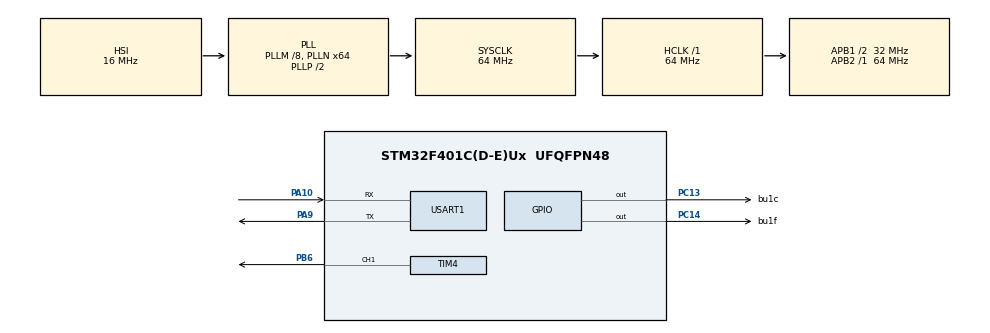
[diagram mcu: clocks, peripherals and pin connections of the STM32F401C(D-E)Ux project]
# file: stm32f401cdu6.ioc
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Mcu.Family=STM32F4
Mcu.Name=STM32F401C(D-E)Ux
Mcu.Package=UFQFPN48
NVIC.PriorityGroup=NVIC_PRIORITYGROUP_4
NVIC.TIM4_IRQn=true\:0\:0\:false\:false\:false\:true\:true\:true
NVIC.USART1_IRQn=true\:0\:0\:false\:false\:false\:true\:true\:true
PA10.Mode=Asynchronous
PA10.Signal=USART1_RX
PA13.Mode=Serial_Wire
PA13.Signal=SYS_JTMS-SWDIO
PA14.Mode=Serial_Wire
PA14.Signal=SYS_JTCK-SWCLK
PA9.Mode=Asynchronous
PA9.Signal=USART1_TX
PB6.Signal=S_TIM4_CH1
PC13-ANTI_TAMP.GPIO_Label=bu1c
PC13-ANTI_TAMP.Signal=GPIO_Output
PC14-OSC32_IN.GPIO_Label=bu1f
PC14-OSC32_IN.Signal=GPIO_Output
ProjectManager.HeapSize=0x200
ProjectManager.StackSize=0x400
ProjectManager.TargetToolchain=STM32CubeIDE
RCC.48MHZClocksFreq_Value=32000000
RCC.AHBFreq_Value=64000000
RCC.APB1CLKDivider=RCC_HCLK_DIV2
RCC.APB1Freq_Value=32000000
RCC.APB1TimFreq_Value=64000000
RCC.APB2Freq_Value=64000000
RCC.APB2TimFreq_Value=64000000
RCC.CortexFreq_Value=64000000
RCC.HCLKFreq_Value=64000000
RCC.HSE_VALUE=25000000
RCC.HSI_VALUE=16000000
RCC.LSE_VALUE=32768
RCC.PLLM=8
RCC.PLLN=64
RCC.SYSCLKFreq_VALUE=64000000
RCC.SYSCLKSource=RCC_SYSCLKSOURCE_PLLCLK
RCC.VCOOutputFreq_Value=128000000
SH.S_TIM4_CH1.0=TIM4_CH1,PWM Generation1 CH1
TIM4.Channel-PWM\ Generation1\ CH1=TIM_CHANNEL_1
TIM4.Period=50000
TIM4.Prescaler=1
TIM4.Pulse-PWM\ Generation1\ CH1=0
USART1.VirtualMode=VM_ASYNC
VP_TIM4_VS_ClockSourceINT.Mode=Internal
board=custom

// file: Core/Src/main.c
/* USER CODE BEGIN Header */
/**
  ******************************************************************************
  * @file           : main.c
  * @brief          : Main program body
  ******************************************************************************
  * @attention
  *
  * Copyright (c) 2023 STMicroelectronics.
  * All rights reserved.
  *
  * This software is licensed under terms that can be found in the LICENSE file
  * in the root directory of this software component.
  * If no LICENSE file comes with this software, it is provided AS-IS.
  *
  ******************************************************************************
  */
/* USER CODE END Header */
#include "main.h"

/* USER CODE BEGIN Includes */
#include "achuankou.h"
#include "abujindianjipwm.h"
extern bujinpwm dianji[4];
extern uint16_t jiasuliebiao[31005] ;
uint32_t jici = 0;
/* USER CODE END Includes */

TIM_HandleTypeDef htim4;

UART_HandleTypeDef huart1;

void SystemClock_Config(void);
static void MX_GPIO_Init(void);
static void MX_TIM4_Init(void);
static void MX_USART1_UART_Init(void);

/* USER CODE BEGIN 0 */

void TIM4_IRQHandler(void)
{
  /* USER CODE BEGIN TIM4_IRQn 0 */
	pwmzhongduankongzhi();
  /* USER CODE END TIM4_IRQn 0 */
	//HAL_GPIO_TogglePin(bu1c_GPIO_Port, bu1c_Pin);
  HAL_TIM_IRQHandler(&htim4);
  /* USER CODE BEGIN TIM4_IRQn 1 */

  /* USER CODE END TIM4_IRQn 1 */
}
/* USER CODE END 0 */

int main(void)
{

  /* MCU Configuration--------------------------------------------------------*/

  /* Reset of all peripherals, Initializes the Flash interface and the Systick. */
  HAL_Init();

  /* Configure the system clock */
  SystemClock_Config();

  /* Initialize all configured peripherals */
  MX_GPIO_Init();
  MX_TIM4_Init();
  MX_USART1_UART_Init();

  /* Infinite loop */
  /* USER CODE BEGIN WHILE */
 // HAL_TIM_Base_Start_DMA(TIM_HandleTypeDef *htim, uint32_t *pData, uint16_t Length);
  //HAL_TIM_PWM_Start_DMA(TIM_HandleTypeDef *htim, uint32_t Channel, uint32_t *pData, uint16_t Length);
  HAL_TIM_PWM_Start(&htim4,TIM_CHANNEL_1);
  HAL_TIM_Base_Start_IT(&htim4);
  HAL_Delay(100);

  jiasuleibiaojisuan(32000000,500,100000,31004);//先计算一遍加速表

  dianji[0].zuidasudu = s2b(32000000,100000);//设置最大速度
  dianji[0].yudingweizhi = 1000000;//设置位置

  while (1)
  {
	  jici++;
	  if(jici >= 500)
	  {
		  //HAL_TIM_PWM_Stop(&htim4,TIM_CHANNEL_1);//关闭定时器
	  }
	  HAL_Delay(5);
	  chuankoufasong(201,dianji[0].dangqianweizhi);
	  chuankoufasong(202,dianji[0].dangqiansudu);
	  chuankoufasong(203,dianji[0].sudukongzhi);

	  chuankoufasong(204,TIM4->ARR);
	  chuankoufasong(205,TIM4->CNT);
	  chuankoufasong(215,jici);
	  chuankoufasong(216,jiasuliebiao[jici]);
	  HAL_GPIO_TogglePin(bu1c_GPIO_Port, bu1c_Pin);
    /* USER CODE END WHILE */

  }
}

void SystemClock_Config(void)
{
  RCC_OscInitTypeDef RCC_OscInitStruct = {0};
  RCC_ClkInitTypeDef RCC_ClkInitStruct = {0};

  /** Configure the main internal regulator output voltage
  */
  __HAL_RCC_PWR_CLK_ENABLE();
  __HAL_PWR_VOLTAGESCALING_CONFIG(PWR_REGULATOR_VOLTAGE_SCALE2);

  /** Initializes the RCC Oscillators according to the specified parameters
  * in the RCC_OscInitTypeDef structure.
  */
  RCC_OscInitStruct.OscillatorType = RCC_OSCILLATORTYPE_HSI;
  RCC_OscInitStruct.HSIState = RCC_HSI_ON;
  RCC_OscInitStruct.HSICalibrationValue = RCC_HSICALIBRATION_DEFAULT;
  RCC_OscInitStruct.PLL.PLLState = RCC_PLL_ON;
  RCC_OscInitStruct.PLL.PLLSource = RCC_PLLSOURCE_HSI;
  RCC_OscInitStruct.PLL.PLLM = 8;
  RCC_OscInitStruct.PLL.PLLN = 64;
  RCC_OscInitStruct.PLL.PLLP = RCC_PLLP_DIV2;
  RCC_OscInitStruct.PLL.PLLQ = 4;
  if (HAL_RCC_OscConfig(&RCC_OscInitStruct) != HAL_OK)
  {
    Error_Handler();
  }

  /** Initializes the CPU, AHB and APB buses clocks
  */
  RCC_ClkInitStruct.ClockType = RCC_CLOCKTYPE_HCLK|RCC_CLOCKTYPE_SYSCLK
                              |RCC_CLOCKTYPE_PCLK1|RCC_CLOCKTYPE_PCLK2;
  RCC_ClkInitStruct.SYSCLKSource = RCC_SYSCLKSOURCE_PLLCLK;
  RCC_ClkInitStruct.AHBCLKDivider = RCC_SYSCLK_DIV1;
  RCC_ClkInitStruct.APB1CLKDivider = RCC_HCLK_DIV2;
  RCC_ClkInitStruct.APB2CLKDivider = RCC_HCLK_DIV1;

  if (HAL_RCC_ClockConfig(&RCC_ClkInitStruct, FLASH_LATENCY_2) != HAL_OK)
  {
    Error_Handler();
  }
}

static void MX_TIM4_Init(void)
{

  TIM_ClockConfigTypeDef sClockSourceConfig = {0};
  TIM_MasterConfigTypeDef sMasterConfig = {0};
  TIM_OC_InitTypeDef sConfigOC = {0};

  htim4.Instance = TIM4;
  htim4.Init.Prescaler = 1;
  htim4.Init.CounterMode = TIM_COUNTERMODE_UP;
  htim4.Init.Period = 50000;
  htim4.Init.ClockDivision = TIM_CLOCKDIVISION_DIV1;
  htim4.Init.AutoReloadPreload = TIM_AUTORELOAD_PRELOAD_DISABLE;
  if (HAL_TIM_Base_Init(&htim4) != HAL_OK)
  {
    Error_Handler();
  }
  sClockSourceConfig.ClockSource = TIM_CLOCKSOURCE_INTERNAL;
  if (HAL_TIM_ConfigClockSource(&htim4, &sClockSourceConfig) != HAL_OK)
  {
    Error_Handler();
  }
  if (HAL_TIM_PWM_Init(&htim4) != HAL_OK)
  {
    Error_Handler();
  }
  sMasterConfig.MasterOutputTrigger = TIM_TRGO_RESET;
  sMasterConfig.MasterSlaveMode = TIM_MASTERSLAVEMODE_DISABLE;
  if (HAL_TIMEx_MasterConfigSynchronization(&htim4, &sMasterConfig) != HAL_OK)
  {
    Error_Handler();
  }
  sConfigOC.OCMode = TIM_OCMODE_PWM1;
  sConfigOC.Pulse = 0;
  sConfigOC.OCPolarity = TIM_OCPOLARITY_HIGH;
  sConfigOC.OCFastMode = TIM_OCFAST_DISABLE;
  if (HAL_TIM_PWM_ConfigChannel(&htim4, &sConfigOC, TIM_CHANNEL_1) != HAL_OK)
  {
    Error_Handler();
  }
  HAL_TIM_MspPostInit(&htim4);

}

static void MX_USART1_UART_Init(void)
{

  huart1.Instance = USART1;
  huart1.Init.BaudRate = 115200;
  huart1.Init.WordLength = UART_WORDLENGTH_8B;
  huart1.Init.StopBits = UART_STOPBITS_1;
  huart1.Init.Parity = UART_PARITY_NONE;
  huart1.Init.Mode = UART_MODE_TX_RX;
  huart1.Init.HwFlowCtl = UART_HWCONTROL_NONE;
  huart1.Init.OverSampling = UART_OVERSAMPLING_16;
  if (HAL_UART_Init(&huart1) != HAL_OK)
  {
    Error_Handler();
  }

}

static void MX_GPIO_Init(void)
{
  GPIO_InitTypeDef GPIO_InitStruct = {0};

  /* GPIO Ports Clock Enable */
  __HAL_RCC_GPIOC_CLK_ENABLE();
  __HAL_RCC_GPIOA_CLK_ENABLE();
  __HAL_RCC_GPIOB_CLK_ENABLE();

  /*Configure GPIO pin Output Level */
  HAL_GPIO_WritePin(GPIOC, bu1c_Pin|bu1f_Pin, GPIO_PIN_RESET);

  /*Configure GPIO pins : bu1c_Pin bu1f_Pin */
  GPIO_InitStruct.Pin = bu1c_Pin|bu1f_Pin;
  GPIO_InitStruct.Mode = GPIO_MODE_OUTPUT_PP;
  GPIO_InitStruct.Pull = GPIO_NOPULL;
  GPIO_InitStruct.Speed = GPIO_SPEED_FREQ_LOW;
  HAL_GPIO_Init(GPIOC, &GPIO_InitStruct);

}

void Error_Handler(void)
{
  __disable_irq();
  while (1)
  {
  }
}
